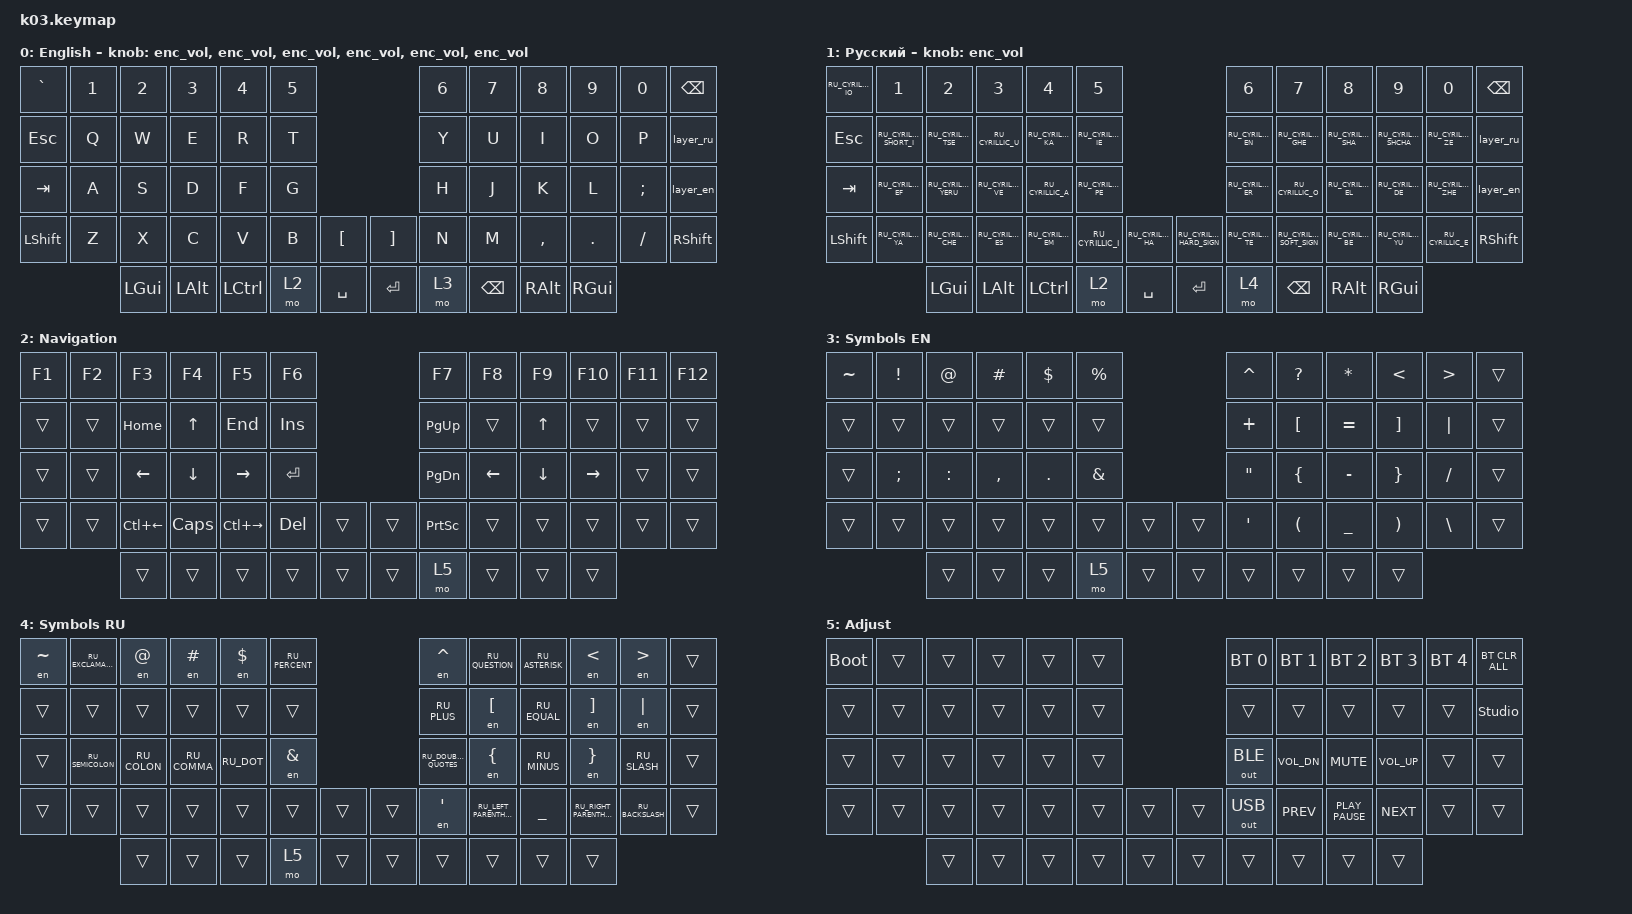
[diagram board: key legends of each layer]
#include "keys_ru.h"
#include <behaviors.dtsi>
#include <dt-bindings/zmk/bt.h>
#include <dt-bindings/zmk/keys.h>
#include <dt-bindings/zmk/outputs.h>

/ {
    macros {
        to_ru: to_ru {
            compatible = "zmk,behavior-macro";
            #binding-cells = <0>;
            bindings = <&kp LS(LC(N2))>;
            label = "TO_RU";
        };

        to_en: to_en {
            compatible = "zmk,behavior-macro";
            #binding-cells = <0>;
            bindings = <&kp LS(LC(N1))>;
            label = "TO_EN";
        };

        layer_en: layer_en {
            compatible = "zmk,behavior-macro";
            #binding-cells = <0>;
            bindings = <&to 0 &to_en>;
            label = "LAYER_EN";
        };

        layer_ru: layer_ru {
            compatible = "zmk,behavior-macro";
            #binding-cells = <0>;
            bindings = <&to 1 &to_ru>;
            label = "LAYER_RU";
        };

        en: en {
            compatible = "zmk,behavior-macro-one-param";
            #binding-cells = <1>;
            bindings =
                <&to_en>,
                <&macro_wait_time 20>,
                <&macro_param_1to1 &kp MACRO_PLACEHOLDER &to_ru>,
                <&macro_wait_time 20>;

            label = "EN";
        };
    };

    behaviors {
        enc_vol: enc_vol {
            compatible = "zmk,behavior-sensor-rotate";
            label = "ENC_VOL";
            #sensor-binding-cells = <0>;
            bindings = <&kp C_VOL_UP>, <&kp C_VOL_DN>;
        };
    };

    keymap {
        compatible = "zmk,keymap";

        en {
            bindings = <
&kp GRAVE  &kp N1  &kp N2    &kp N3    &kp N4     &kp N5                          &kp N6  &kp N7         &kp N8     &kp N9    &kp N0    &kp BSPC
&kp ESC    &kp Q   &kp W     &kp E     &kp R      &kp T                           &kp Y   &kp U          &kp I      &kp O     &kp P     &layer_ru
&kp TAB    &kp A   &kp S     &kp D     &kp F      &kp G                           &kp H   &kp J          &kp K      &kp L     &kp SEMI  &layer_en
&kp LSHFT  &kp Z   &kp X     &kp C     &kp V      &kp B   &kp LBKT     &kp RBKT   &kp N   &kp M          &kp COMMA  &kp DOT   &kp FSLH  &kp RSHFT
                   &kp LGUI  &kp LALT  &kp LCTRL  &mo 2   &kp SPACE    &kp ENTER  &mo 3   &kp BACKSPACE  &kp RALT   &kp RGUI
            >;

            display-name = "English";
            sensor-bindings =
                <&enc_vol>,
                <&enc_vol>,
                <&enc_vol>,
                <&enc_vol>,
                <&enc_vol>,
                <&enc_vol>;
        };

        ru {
            display-name = "Русский";
            bindings = <
&kp RU_CYRILLIC_IO  &kp N1                   &kp N2                &kp N3              &kp N4              &kp N5                                                               &kp N6              &kp N7                     &kp N8               &kp N9                 &kp N0               &kp BSPC
&kp ESC             &kp RU_CYRILLIC_SHORT_I  &kp RU_CYRILLIC_TSE   &kp RU_CYRILLIC_U   &kp RU_CYRILLIC_KA  &kp RU_CYRILLIC_IE                                                   &kp RU_CYRILLIC_EN  &kp RU_CYRILLIC_GHE        &kp RU_CYRILLIC_SHA  &kp RU_CYRILLIC_SHCHA  &kp RU_CYRILLIC_ZE   &layer_ru
&kp TAB             &kp RU_CYRILLIC_EF       &kp RU_CYRILLIC_YERU  &kp RU_CYRILLIC_VE  &kp RU_CYRILLIC_A   &kp RU_CYRILLIC_PE                                                   &kp RU_CYRILLIC_ER  &kp RU_CYRILLIC_O          &kp RU_CYRILLIC_EL   &kp RU_CYRILLIC_DE     &kp RU_CYRILLIC_ZHE  &layer_en
&kp LSHFT           &kp RU_CYRILLIC_YA       &kp RU_CYRILLIC_CHE   &kp RU_CYRILLIC_ES  &kp RU_CYRILLIC_EM  &kp RU_CYRILLIC_I   &kp RU_CYRILLIC_HA    &kp RU_CYRILLIC_HARD_SIGN  &kp RU_CYRILLIC_TE  &kp RU_CYRILLIC_SOFT_SIGN  &kp RU_CYRILLIC_BE   &kp RU_CYRILLIC_YU     &kp RU_CYRILLIC_E    &kp RSHFT
                                             &kp LGUI              &kp LALT            &kp LCTRL           &mo 2               &kp SPACE             &kp ENTER                  &mo 4               &kp BACKSPACE              &kp RALT             &kp RGUI
            >;

            sensor-bindings = <&enc_vol>;
        };

        nav {
            bindings = <
&kp F1  &kp F2  &kp F3        &kp F4    &kp F5         &kp F6                     &kp F7           &kp F8    &kp F9    &kp F10    &kp F11  &kp F12
&trans  &trans  &kp HOME      &kp UP    &kp END        &kp INS                    &kp PG_UP        &trans    &kp UP    &trans     &trans   &trans
&trans  &trans  &kp LEFT      &kp DOWN  &kp RIGHT      &kp RET                    &kp PG_DN        &kp LEFT  &kp DOWN  &kp RIGHT  &trans   &trans
&trans  &trans  &kp LC(LEFT)  &kp CAPS  &kp LC(RIGHT)  &kp DEL  &trans    &trans  &kp PRINTSCREEN  &trans    &trans    &trans     &trans   &trans
                &trans        &trans    &trans         &trans   &trans    &trans  &mo 5            &trans    &trans    &trans
            >;

            display-name = "Navigation";
        };

        sym_en {
            bindings = <
&kp TILDE  &kp EXCL  &kp AT_SIGN  &kp HASH   &kp DOLLAR  &kp PRCNT                        &kp CARET  &kp QUESTION    &kp ASTRK  &kp LESS_THAN  &kp GREATER_THAN  &trans
&trans     &trans    &trans       &trans     &trans      &trans                           &kp PLUS   &kp LBKT        &kp EQUAL  &kp RBKT       &kp PIPE          &trans
&trans     &kp SEMI  &kp COLON    &kp COMMA  &kp DOT     &kp AMPERSAND                    &kp DQT    &kp LEFT_BRACE  &kp MINUS  &kp RBRC       &kp FSLH          &trans
&trans     &trans    &trans       &trans     &trans      &trans         &trans    &trans  &kp SQT    &kp LPAR        &kp UNDER  &kp RPAR       &kp BSLH          &trans
                     &trans       &trans     &trans      &mo 5          &trans    &trans  &trans     &trans          &trans     &trans
            >;

            display-name = "Symbols EN";
        };

        sym_ru {
            bindings = <
&en TILDE  &kp RU_EXCLAMATION  &en AT_SIGN   &en POUND     &en DOLLAR  &kp RU_PERCENT                    &en CARET             &kp RU_QUESTION          &kp RU_ASTERISK  &en LESS_THAN             &en GREATER_THAN  &trans
&trans     &trans              &trans        &trans        &trans      &trans                            &kp RU_PLUS           &en LBKT                 &kp RU_EQUAL     &en RBKT                  &en PIPE          &trans
&trans     &kp RU_SEMICOLON    &kp RU_COLON  &kp RU_COMMA  &kp RU_DOT  &en AMPERSAND                     &kp RU_DOUBLE_QUOTES  &en LEFT_BRACE           &kp RU_MINUS     &en RBRC                  &kp RU_SLASH      &trans
&trans     &trans              &trans        &trans        &trans      &trans          &trans    &trans  &en SQT               &kp RU_LEFT_PARENTHESIS  &kp UNDER        &kp RU_RIGHT_PARENTHESIS  &kp RU_BACKSLASH  &trans
                               &trans        &trans        &trans      &mo 5           &trans    &trans  &trans                &trans                   &trans           &trans
            >;

            display-name = "Symbols RU";
        };

        adj {
            bindings = <
&bootloader  &trans  &trans  &trans  &trans  &trans                    &bt BT_SEL 0  &bt BT_SEL 1  &bt BT_SEL 2      &bt BT_SEL 3  &bt BT_SEL 4  &bt BT_CLR_ALL
&trans       &trans  &trans  &trans  &trans  &trans                    &trans        &trans        &trans            &trans        &trans        &studio_unlock
&trans       &trans  &trans  &trans  &trans  &trans                    &out OUT_BLE  &kp C_VOL_DN  &kp K_MUTE        &kp C_VOL_UP  &trans        &trans
&trans       &trans  &trans  &trans  &trans  &trans  &trans    &trans  &out OUT_USB  &kp K_PREV    &kp K_PLAY_PAUSE  &kp K_NEXT    &trans        &trans
                     &trans  &trans  &trans  &trans  &trans    &trans  &trans        &trans        &trans            &trans
            >;

            display-name = "Adjust";
        };
    };
};
